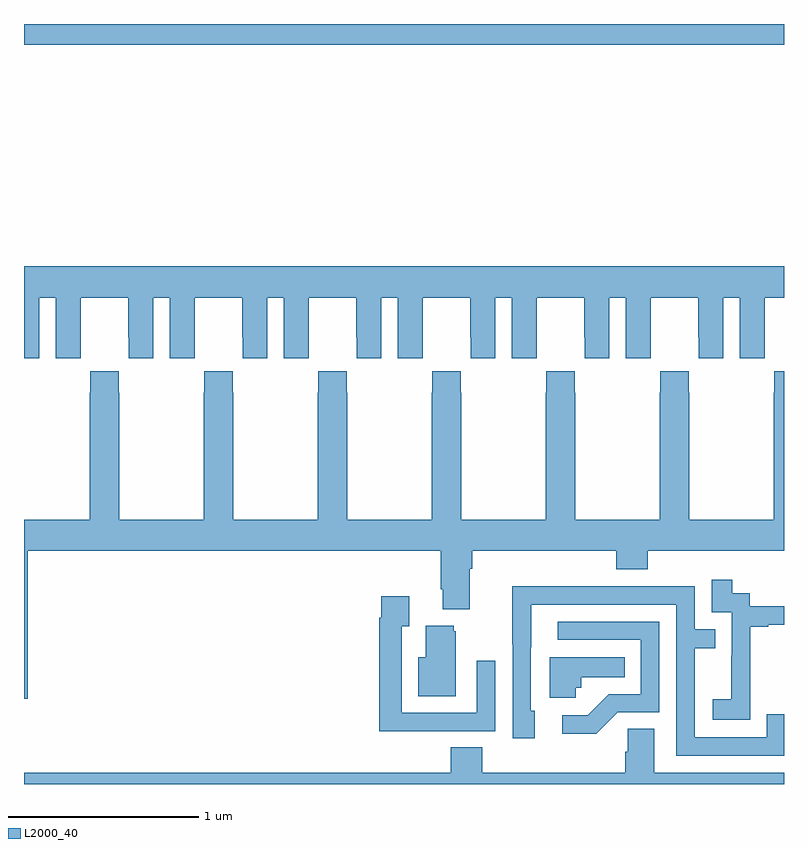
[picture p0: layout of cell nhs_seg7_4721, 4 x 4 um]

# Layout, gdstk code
import gdstk
lib = gdstk.Library(unit=1e-6, precision=1e-09)
def R(c, l, rs):  # rectangles x0, y0, x1, y1
    for r in rs: c.add(gdstk.rectangle(r[:2], r[2:], *l))
def P(c, l, *ps):  # polygons
    for p in ps: c.add(gdstk.Polygon(p, *l))
L2000_40 = (2000, 40)

nhs_seg7_4721 = lib.new_cell('nhs_seg7_4721')
R(nhs_seg7_4721, L2000_40, [(407,1057.892,411,1058)])
P(nhs_seg7_4721, L2000_40, [(407,1056.24),(407.08,1056.24),(407.08,1056.56),(407.168,1056.56),(407.168,1056.24),(407.298,1056.24),(407.298,1056.352),(407.299,1056.352),(407.299,1056.56),(407.549,1056.56),(407.549,1056.352),(407.55,1056.352),(407.55,1056.24),(407.68,1056.24),(407.68,1056.56),(407.768,1056.56),(407.768,1056.24),(407.898,1056.24),(407.898,1056.352),(407.899,1056.352),(407.899,1056.56),(408.149,1056.56),(408.149,1056.352),(408.15,1056.352),(408.15,1056.24),(408.28,1056.24),(408.28,1056.56),(408.368,1056.56),(408.368,1056.24),(408.498,1056.24),(408.498,1056.352),(408.499,1056.352),(408.499,1056.56),(408.749,1056.56),(408.749,1056.352),(408.75,1056.352),(408.75,1056.24),(408.88,1056.24),(408.88,1056.56),(408.968,1056.56),(408.968,1056.24),(409.098,1056.24),(409.098,1056.352),(409.099,1056.352),(409.099,1056.56),(409.349,1056.56),(409.349,1056.352),(409.35,1056.352),(409.35,1056.24),(409.48,1056.24),(409.48,1056.56),(409.568,1056.56),(409.568,1056.24),(409.698,1056.24),(409.698,1056.352),(409.699,1056.352),(409.699,1056.56),(409.949,1056.56),(409.949,1056.352),(409.95,1056.352),(409.95,1056.24),(410.08,1056.24),(410.08,1056.56),(410.168,1056.56),(410.168,1056.24),(410.298,1056.24),(410.298,1056.352),(410.299,1056.352),(410.299,1056.56),(410.549,1056.56),(410.549,1056.352),(410.55,1056.352),(410.55,1056.24),(410.68,1056.24),(410.68,1056.56),(410.768,1056.56),(410.768,1056.24),(410.898,1056.24),(410.898,1056.352),(410.899,1056.352),(410.899,1056.56),(411,1056.56),(411,1056.724),(407,1056.724)],
  [(407.021,1055.228),(409.193,1055.228),(409.193,1055.026),(409.205,1055.026),(409.205,1054.919),(409.345,1054.919),(409.345,1055.132),(409.358,1055.132),(409.358,1055.228),(410.117,1055.228),(410.117,1055.129),(410.282,1055.129),(410.282,1055.228),(411,1055.228),(411,1056.172),(410.949,1056.172),(410.949,1056.059),(410.947,1056.059),(410.947,1055.392),(410.502,1055.392),(410.502,1056.059),(410.499,1056.059),(410.499,1056.172),(410.349,1056.172),(410.349,1056.059),(410.347,1056.059),(410.347,1055.392),(409.902,1055.392),(409.902,1056.059),(409.899,1056.059),(409.899,1056.172),(409.749,1056.172),(409.749,1056.059),(409.747,1056.059),(409.747,1055.392),(409.302,1055.392),(409.302,1056.059),(409.299,1056.059),(409.299,1056.172),(409.149,1056.172),(409.149,1056.059),(409.147,1056.059),(409.147,1055.392),(408.702,1055.392),(408.702,1056.059),(408.699,1056.059),(408.699,1056.172),(408.549,1056.172),(408.549,1056.059),(408.547,1056.059),(408.547,1055.392),(408.102,1055.392),(408.102,1056.059),(408.099,1056.059),(408.099,1056.172),(407.949,1056.172),(407.949,1056.059),(407.947,1056.059),(407.947,1055.392),(407.502,1055.392),(407.502,1056.059),(407.499,1056.059),(407.499,1056.172),(407.349,1056.172),(407.349,1056.059),(407.347,1056.059),(407.347,1055.392),(407,1055.392),(407,1054.449),(407.021,1054.449)],
  [(410.823,1054.543),(410.822,1054.543),(410.822,1054.827),(410.917,1054.827),(410.917,1054.839),(411,1054.839),(411,1054.935),(410.82,1054.935),(410.82,1055.004),(410.728,1055.004),(410.728,1055.074),(410.619,1055.074),(410.619,1054.905),(410.724,1054.905),(410.724,1054.676),(410.723,1054.676),(410.723,1054.447),(410.625,1054.447),(410.625,1054.337),(410.823,1054.337)],
  [(411,1054.368),(410.91,1054.368),(410.91,1054.245),(410.529,1054.245),(410.529,1054.714),(410.639,1054.714),(410.639,1054.815),(410.529,1054.815),(410.529,1055.04),(410.033,1055.04),(410.033,1055.042),(409.57,1055.042),(409.57,1054.735),(409.572,1054.735),(409.572,1054.242),(409.687,1054.242),(409.687,1054.386),(409.668,1054.386),(409.668,1054.72),(409.669,1054.72),(409.669,1054.944),(410.433,1054.944),(410.433,1054.149),(411,1054.149)],
  [(409.163,1054.278),(409.479,1054.278),(409.479,1054.648),(409.383,1054.648),(409.383,1054.374),(408.987,1054.374),(408.987,1054.831),(409.027,1054.831),(409.027,1054.987),(408.879,1054.987),(408.879,1054.874),(408.871,1054.874),(408.871,1054.277),(409.163,1054.277)],
  [(410.124,1054.377),(410.343,1054.377),(410.343,1054.854),(409.809,1054.854),(409.809,1054.758),(410.247,1054.758),(410.247,1054.473),(410.078,1054.473),(409.967,1054.362),(409.833,1054.362),(409.833,1054.265),(410.011,1054.265)],
  [(409.273,1054.803),(409.262,1054.803),(409.262,1054.834),(409.115,1054.834),(409.115,1054.666),(409.076,1054.666),(409.076,1054.463),(409.273,1054.463)],
  [(409.905,1054.506),(409.932,1054.506),(409.932,1054.562),(410.162,1054.562),(410.162,1054.666),(409.766,1054.666),(409.766,1054.454),(409.905,1054.454)],
  [(409.412,1054.193),(409.247,1054.193),(409.247,1054.06),(407,1054.06),(407,1054),(411,1054),(411,1054.06),(410.317,1054.06),(410.317,1054.292),(410.178,1054.292),(410.178,1054.169),(410.165,1054.169),(410.165,1054.06),(409.412,1054.06)])

lib.write_gds('nhs_seg7_4721.gds')
